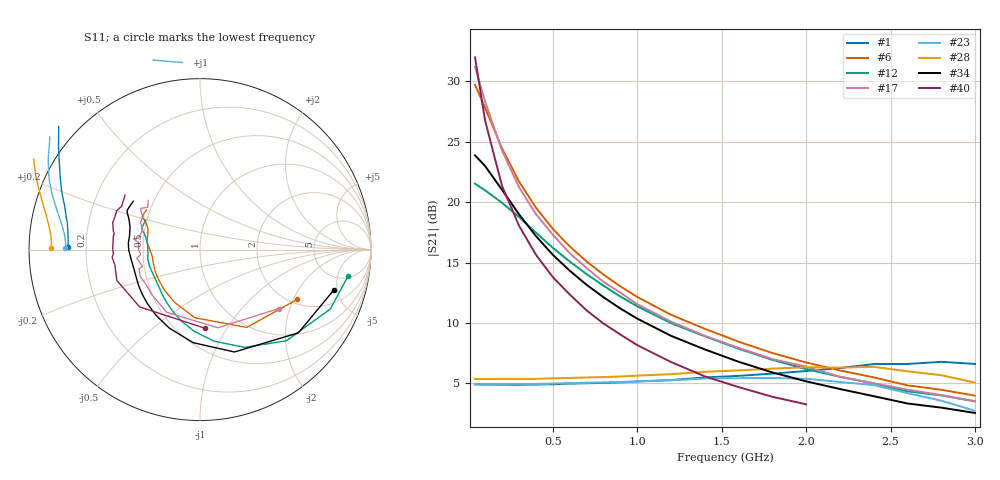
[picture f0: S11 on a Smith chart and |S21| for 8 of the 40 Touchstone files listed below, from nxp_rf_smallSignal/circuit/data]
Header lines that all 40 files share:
#  MHz  S  MA  R  50
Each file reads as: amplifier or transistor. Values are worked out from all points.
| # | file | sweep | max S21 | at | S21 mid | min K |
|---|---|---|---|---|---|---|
| 1 | BFR92A_common_base_10V_5mA.s2p | 40 MHz to 3 GHz | 6.8 dB | 2.8 GHz | 5.2 dB at 1 GHz | -0.94 |
| 2 | BFR92A_common_base_10V_10mA.s2p | 40 MHz to 3 GHz | 7.7 dB | 2.8 GHz | 5.6 dB at 1 GHz | -0.95 |
| 3 | BFR92A_common_base_10V_15mA.s2p | 40 MHz to 3 GHz | 7.9 dB | 3 GHz | 5.7 dB at 1 GHz | -0.96 |
| 4 | BFR92A_common_base_10V_20mA.s2p | 40 MHz to 3 GHz | 8.0 dB | 3 GHz | 5.8 dB at 1 GHz | -0.96 |
| 5 | BFR92AW_5V_2mA.s2p | 40 MHz to 3 GHz | 14.8 dB | 40 MHz | 8.5 dB at 1 GHz | 0.07 |
| 6 | BFR92AW_5V_20mA.s2p | 40 MHz to 3 GHz | 29.7 dB | 40 MHz | 12.2 dB at 1 GHz | 0.22 |
| 7 | BFR92AW_10V_2mA.s2p | 40 MHz to 3 GHz | 14.4 dB | 40 MHz | 8.4 dB at 1 GHz | 0.06 |
| 8 | BFR92AW_10V_20mA.s2p | 40 MHz to 3 GHz | 29.1 dB | 40 MHz | 12.2 dB at 1 GHz | 0.21 |
| 9 | BFR92AW_S_NF_5V_5mA.s2p | 40 MHz to 3 GHz | 21.9 dB | 40 MHz | 11.4 dB at 1 GHz | 0.11 |
| 10 | BFR92AW_S_NF_5V_10mA.s2p | 40 MHz to 3 GHz | 26.5 dB | 40 MHz | 12.3 dB at 1 GHz | 0.16 |
| 11 | BFR92AW_S_NF_5V_15mA.s2p | 40 MHz to 3 GHz | 28.6 dB | 40 MHz | 12.4 dB at 1 GHz | 0.18 |
| 12 | BFR92AW_S_NF_10V_5mA.s2p | 40 MHz to 3 GHz | 21.5 dB | 40 MHz | 11.4 dB at 1 GHz | 0.10 |
| 13 | BFR92AW_S_NF_10V_10mA.s2p | 40 MHz to 3 GHz | 26.0 dB | 40 MHz | 12.3 dB at 1 GHz | 0.15 |
| 14 | BFR92AW_S_NF_10V_15mA.s2p | 40 MHz to 3 GHz | 28.1 dB | 40 MHz | 12.4 dB at 1 GHz | 0.18 |
| 15 | BFR93A_5V_5mA.s2p | 40 MHz to 3 GHz | 23.4 dB | 40 MHz | 9.3 dB at 1 GHz | 0.12 |
| 16 | BFR93A_5V_10mA.s2p | 40 MHz to 3 GHz | 27.8 dB | 40 MHz | 10.8 dB at 1 GHz | 0.16 |
| 17 | BFR93A_5V_20mA.s2p | 40 MHz to 3 GHz | 31.2 dB | 40 MHz | 11.6 dB at 1 GHz | 0.24 |
| 18 | BFR93A_5V_30mA.s2p | 40 MHz to 3 GHz | 32.6 dB | 40 MHz | 11.7 dB at 1 GHz | 0.29 |
| 19 | BFR93A_8V_5mA.s2p | 40 MHz to 3 GHz | 23.2 dB | 40 MHz | 9.6 dB at 1 GHz | 0.11 |
| 20 | BFR93A_8V_10mA.s2p | 40 MHz to 3 GHz | 27.7 dB | 40 MHz | 10.9 dB at 1 GHz | 0.15 |
| 21 | BFR93A_8V_20mA.s2p | 40 MHz to 3 GHz | 31.0 dB | 40 MHz | 11.6 dB at 1 GHz | 0.22 |
| 22 | BFR93A_8V_30mA.s2p | 40 MHz to 3 GHz | 32.3 dB | 40 MHz | 11.8 dB at 1 GHz | 0.29 |
| 23 | BFR93A_common_base_5V_5mA.s2p | 40 MHz to 3 GHz | 5.4 dB | 1.8 GHz | 5.2 dB at 1 GHz | -0.89 |
| 24 | BFR93A_common_base_5V_10mA.s2p | 40 MHz to 3 GHz | 6.2 dB | 2 GHz | 5.6 dB at 1 GHz | -0.93 |
| 25 | BFR93A_common_base_5V_20mA.s2p | 40 MHz to 3 GHz | 6.5 dB | 2.4 GHz | 5.9 dB at 1 GHz | -0.95 |
| 26 | BFR93A_common_base_5V_30mA.s2p | 40 MHz to 3 GHz | 6.6 dB | 2.4 GHz | 5.9 dB at 1 GHz | -0.95 |
| 27 | BFR93A_common_base_8V_5mA.s2p | 40 MHz to 3 GHz | 5.5 dB | 1.8 GHz | 5.2 dB at 1 GHz | -0.90 |
| 28 | BFR93A_common_base_8V_10mA.s2p | 40 MHz to 3 GHz | 6.4 dB | 2.4 GHz | 5.6 dB at 1 GHz | -0.93 |
| 29 | BFR93A_common_base_8V_20mA.s2p | 40 MHz to 3 GHz | 6.8 dB | 2.4 GHz | 5.9 dB at 1 GHz | -0.94 |
| 30 | BFR93A_common_base_8V_30mA.s2p | 40 MHz to 3 GHz | 6.9 dB | 2.4 GHz | 5.9 dB at 1 GHz | -0.95 |
| 31 | BFR93AW_5V_20mA.s2p | 40 MHz to 3 GHz | 25.4 dB | 40 MHz | 11.1 dB at 1 GHz | 0.10 |
| 32 | BFR93AW_8V_20mA.s2p | 40 MHz to 3 GHz | 25.1 dB | 40 MHz | 11.2 dB at 1 GHz | 0.10 |
| 33 | BFR93AW_S_NF_5V_5mA.s2p | 40 MHz to 3 GHz | 20.3 dB | 40 MHz | 8.8 dB at 1 GHz | 0.08 |
| 34 | BFR93AW_S_NF_5V_10mA.s2p | 40 MHz to 3 GHz | 23.9 dB | 40 MHz | 10.4 dB at 1 GHz | 0.11 |
| 35 | BFR93AW_S_NF_5V_30mA.s2p | 40 MHz to 3 GHz | 26.1 dB | 40 MHz | 11.2 dB at 1 GHz | 0.12 |
| 36 | BFR93AW_S_NF_8V_5mA.s2p | 40 MHz to 3 GHz | 19.9 dB | 40 MHz | 8.8 dB at 1 GHz | 0.06 |
| 37 | BFR93AW_S_NF_8V_10mA.s2p | 40 MHz to 3 GHz | 23.7 dB | 40 MHz | 10.5 dB at 1 GHz | 0.10 |
| 38 | BFR93AW_S_NF_8V_30mA.s2p | 40 MHz to 3 GHz | 25.8 dB | 40 MHz | 11.2 dB at 1 GHz | 0.12 |
| 39 | BFR106_5V_15mA.s2p | 40 MHz to 2 GHz | 29.6 dB | 40 MHz | 9.3 dB at 800 MHz | 0.22 |
| 40 | BFR106_5V_30mA.s2p | 40 MHz to 2 GHz | 32.0 dB | 40 MHz | 10.0 dB at 800 MHz | 0.34 |
